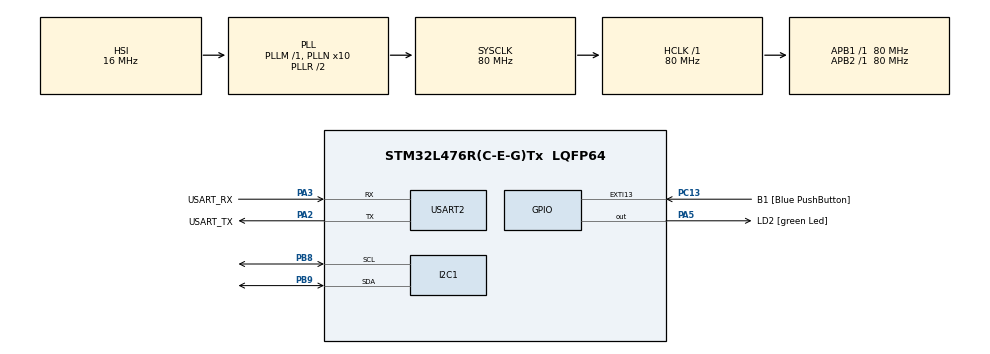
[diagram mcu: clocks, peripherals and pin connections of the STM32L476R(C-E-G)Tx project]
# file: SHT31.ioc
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I2C1.Timing=0x10D19CE4
Mcu.Family=STM32L4
Mcu.Name=STM32L476R(C-E-G)Tx
Mcu.Package=LQFP64
NVIC.PriorityGroup=NVIC_PRIORITYGROUP_4
PA13\ (JTMS-SWDIO).GPIO_Label=TMS
PA13\ (JTMS-SWDIO).Mode=Serial_Wire
PA13\ (JTMS-SWDIO).Signal=SYS_JTMS-SWDIO
PA14\ (JTCK-SWCLK).GPIO_Label=TCK
PA14\ (JTCK-SWCLK).Mode=Serial_Wire
PA14\ (JTCK-SWCLK).Signal=SYS_JTCK-SWCLK
PA2.GPIO_Label=USART_TX
PA2.GPIO_Mode=GPIO_MODE_AF_PP
PA2.GPIO_PuPd=GPIO_NOPULL
PA2.GPIO_Speed=GPIO_SPEED_FREQ_VERY_HIGH
PA2.Mode=Asynchronous
PA2.Signal=USART2_TX
PA3.GPIO_Label=USART_RX
PA3.GPIO_Mode=GPIO_MODE_AF_PP
PA3.GPIO_PuPd=GPIO_NOPULL
PA3.GPIO_Speed=GPIO_SPEED_FREQ_VERY_HIGH
PA3.Mode=Asynchronous
PA3.Signal=USART2_RX
PA5.GPIO_Label=LD2 [green Led]
PA5.GPIO_ModeDefaultOutputPP=GPIO_MODE_OUTPUT_PP
PA5.GPIO_PuPd=GPIO_NOPULL
PA5.GPIO_Speed=GPIO_SPEED_FREQ_LOW
PA5.Signal=GPIO_Output
PB3\ (JTDO-TRACESWO).GPIO_Label=SWO
PB3\ (JTDO-TRACESWO).Signal=SYS_JTDO-SWO
PB8.Mode=I2C
PB8.Signal=I2C1_SCL
PB9.Mode=I2C
PB9.Signal=I2C1_SDA
PC13.GPIO_Label=B1 [Blue PushButton]
PC13.GPIO_ModeDefaultEXTI=GPIO_MODE_IT_FALLING
PC13.GPIO_PuPd=GPIO_NOPULL
PC13.Signal=GPXTI13
PC14-OSC32_IN\ (PC14).Mode=LSE-External-Oscillator
PC14-OSC32_IN\ (PC14).Signal=RCC_OSC32_IN
PC15-OSC32_OUT\ (PC15).Mode=LSE-External-Oscillator
PC15-OSC32_OUT\ (PC15).Signal=RCC_OSC32_OUT
PH0-OSC_IN\ (PH0).Signal=RCC_OSC_IN
PH1-OSC_OUT\ (PH1).Signal=RCC_OSC_OUT
ProjectManager.HeapSize=0x200
ProjectManager.StackSize=0x400
ProjectManager.TargetToolchain=STM32CubeIDE
RCC.ADCFreq_Value=64000000
RCC.AHBFreq_Value=80000000
RCC.APB1Freq_Value=80000000
RCC.APB1TimFreq_Value=80000000
RCC.APB2Freq_Value=80000000
RCC.APB2TimFreq_Value=80000000
RCC.CortexFreq_Value=80000000
RCC.HCLKFreq_Value=80000000
RCC.HSE_VALUE=8000000
RCC.HSI_VALUE=16000000
RCC.MSI_VALUE=4000000
RCC.PLLN=10
RCC.PLLSourceVirtual=RCC_PLLSOURCE_HSI
RCC.PREFETCH_ENABLE=1
RCC.SYSCLKFreq_VALUE=80000000
RCC.SYSCLKSource=RCC_SYSCLKSOURCE_PLLCLK
RCC.USBFreq_Value=64000000
RCC.VCOOutputFreq_Value=160000000
USART2.VirtualMode-Asynchronous=VM_ASYNC
board=NUCLEO-L476RG

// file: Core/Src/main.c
/* USER CODE BEGIN Header */
/**
  ******************************************************************************
  * @file : main.c
  * @brief : Main program body
  ******************************************************************************
  * @attention
  *
  * <h2><center>&copy; Copyright (c) 2021 STMicroelectronics.
  * All rights reserved.</center></h2>
  *
  * This software component is licensed by ST under BSD 3-Clause license,
  * the "License"; You may not use this file except in compliance with the
  * License. You may obtain a copy of the License at:
  * opensource.org/licenses/BSD-3-Clause
  *
  ******************************************************************************
  */
/* USER CODE END Header */

#include "main.h"
#include "i2c.h"
#include "usart.h"
#include "gpio.h"
#include "LCD.h"

/* USER CODE BEGIN Includes */
#include <string.h>
#include <stdio.h>
/* USER CODE END Includes */

/* USER CODE BEGIN PV */
static const uint8_t CAPTEUR_ADRS = 0x44 << 1;/* Adresse I2C du capteur SHT31 (0x44), décalée pour format HAL (8 bits) */
static const uint8_t CAPTEUR_CMD_MSB = 0x24;
static const uint8_t CAPTEUR_CMD_LSB = 0x16;
rgb_lcd lcd;
/* USER CODE END PV */

void SystemClock_Config(void);

int main(void)
{
  /* USER CODE BEGIN 1 */
  HAL_StatusTypeDef ret;
  uint8_t buf[12];
  volatile uint16_t valeur;// Valeur brute 16 bits reçue du capteur
  volatile uint16_t valeur2;
  volatile float temp;
  float umid;
  float partieDecimal;
  float partieEntiere;
  float partieDecimal2;
  float partieEntiere2;
  /* USER CODE END 1 */

  /* MCU Configuration--------------------------------------------------------*/
  HAL_Init();

  /* Configure the system clock */
  SystemClock_Config();

  /* Initialize all configured peripherals */
  MX_GPIO_Init();
  MX_USART2_UART_Init();
  MX_I2C1_Init();

  /* USER CODE BEGIN 2 */
  lcd_init(&hi2c1, &lcd);
  reglagecouleur(100,100,100);
  lcd_position(&hi2c1,0,0);
  reglagecouleur(0,0,255);
  /* USER CODE END 2 */

  /* Infinite loop */
  /* USER CODE BEGIN WHILE */
  while (1)
  {
    buf[0] = CAPTEUR_CMD_MSB;
    buf[1] = CAPTEUR_CMD_LSB;

    ret = HAL_I2C_Master_Transmit(&hi2c1, CAPTEUR_ADRS, buf, 2, HAL_MAX_DELAY);/* Envoi de la commande au capteur via I2C */
    if (ret != HAL_OK)
    {
      strcpy((char*)buf, "erreur_T!!\r\n");
    }
    else
    {
      ret = HAL_I2C_Master_Receive(&hi2c1, CAPTEUR_ADRS, buf, 6, HAL_MAX_DELAY);
      if (ret != HAL_OK)
      {
        strcpy((char*)buf, "erreur_R!!\r\n");
      }
      else
      {
    	  /* Reconstruction de la valeur température (MSB + LSB) */
        valeur = buf[1] | buf[0] << 8;
        /* Calcul de la température selon la datasheet SHT31 */
        temp = -45 + 175 * ((float)valeur / 65535);

        partieEntiere = (int) temp;
        partieDecimal = temp;
        partieDecimal *= 100;
        partieDecimal = partieDecimal - (partieEntiere * 100);

        valeur = buf[4] | buf[3] << 8;

        umid = 100 * ((float)valeur / 65535);

        sprintf((char*)buf, "%u.%u C ; %u %",
                (unsigned int)partieEntiere,
                (unsigned int)partieDecimal,
                (unsigned int)umid);

        lcd_position(&hi2c1,0,0);
        lcd_print(&hi2c1,"Temp : ");
        lcd_position(&hi2c1,7,0);
        lcd_print(&hi2c1,buf);

        lcd_position(&hi2c1,0,1);
        lcd_print(&hi2c1,"Hum : ");
        lcd_position(&hi2c1,7,1);
        lcd_print(&hi2c1,&buf[10]);
      }
    }

    HAL_UART_Transmit(&huart2, buf, strlen((char*)buf), HAL_MAX_DELAY);
    HAL_Delay(1000);
  }
  /* USER CODE END WHILE */
}

void SystemClock_Config(void)
{
  RCC_OscInitTypeDef RCC_OscInitStruct = {0};
  RCC_ClkInitTypeDef RCC_ClkInitStruct = {0};

  if (HAL_PWREx_ControlVoltageScaling(PWR_REGULATOR_VOLTAGE_SCALE1) != HAL_OK)
  {
    Error_Handler();
  }

  RCC_OscInitStruct.OscillatorType = RCC_OSCILLATORTYPE_HSI;
  RCC_OscInitStruct.HSIState = RCC_HSI_ON;
  RCC_OscInitStruct.HSICalibrationValue = RCC_HSICALIBRATION_DEFAULT;
  RCC_OscInitStruct.PLL.PLLState = RCC_PLL_ON;
  RCC_OscInitStruct.PLL.PLLSource = RCC_PLLSOURCE_HSI;
  RCC_OscInitStruct.PLL.PLLM = 1;
  RCC_OscInitStruct.PLL.PLLN = 10;
  RCC_OscInitStruct.PLL.PLLP = RCC_PLLP_DIV7;
  RCC_OscInitStruct.PLL.PLLQ = RCC_PLLQ_DIV2;
  RCC_OscInitStruct.PLL.PLLR = RCC_PLLR_DIV2;

  if (HAL_RCC_OscConfig(&RCC_OscInitStruct) != HAL_OK)
  {
    Error_Handler();
  }

  RCC_ClkInitStruct.ClockType = RCC_CLOCKTYPE_HCLK|RCC_CLOCKTYPE_SYSCLK
                              |RCC_CLOCKTYPE_PCLK1|RCC_CLOCKTYPE_PCLK2;
  RCC_ClkInitStruct.SYSCLKSource = RCC_SYSCLKSOURCE_PLLCLK;
  RCC_ClkInitStruct.AHBCLKDivider = RCC_SYSCLK_DIV1;
  RCC_ClkInitStruct.APB1CLKDivider = RCC_HCLK_DIV1;
  RCC_ClkInitStruct.APB2CLKDivider = RCC_HCLK_DIV1;

  if (HAL_RCC_ClockConfig(&RCC_ClkInitStruct, FLASH_LATENCY_4) != HAL_OK)
  {
    Error_Handler();
  }
}

void Error_Handler(void)
{
  __disable_irq();
  while (1)
  {
  }
}
